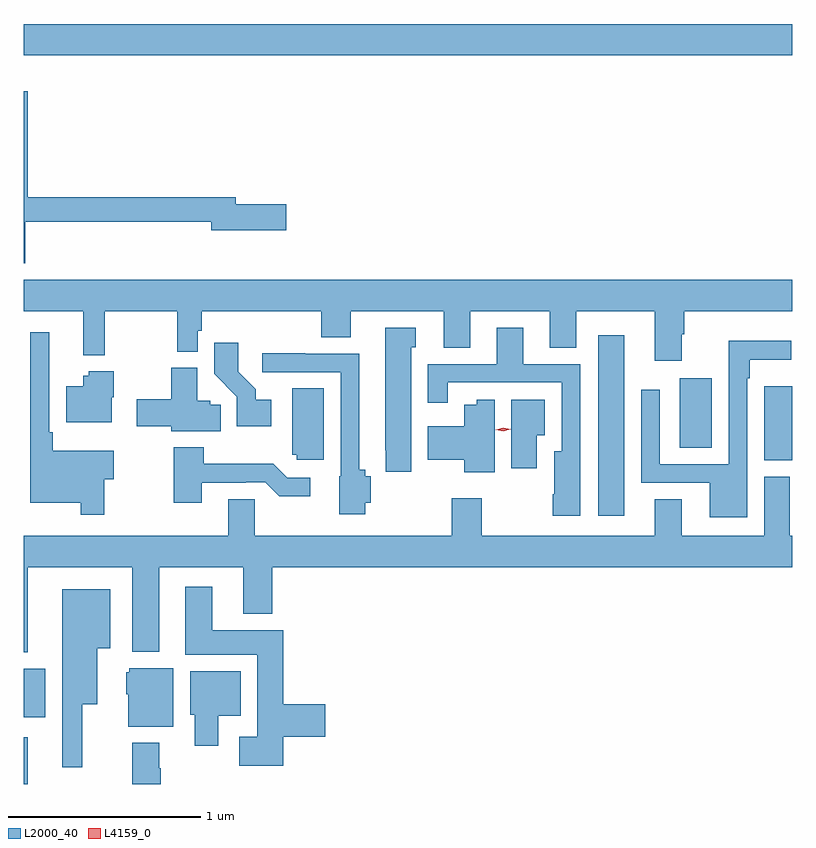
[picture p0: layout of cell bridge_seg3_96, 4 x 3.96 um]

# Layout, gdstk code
import gdstk
lib = gdstk.Library(unit=1e-6, precision=1e-09)
def R(c, l, rs):  # rectangles x0, y0, x1, y1
    for r in rs: c.add(gdstk.rectangle(r[:2], r[2:], *l))
def P(c, l, *ps):  # polygons
    for p in ps: c.add(gdstk.Polygon(p, *l))
L2000_40 = (2000, 40)
L4159_0 = (4159, 0)

bridge_seg3_96 = lib.new_cell('bridge_seg3_96')
R(bridge_seg3_96, L2000_40, [(494.482,734.418,494.503,734.662), (494.482,734.765,494.593,735.019), (497.474,735.816,497.608,736.756), (498.338,736.103,498.482,736.489), (497.897,736.168,498.064,736.531), (494.482,738.212,498.482,738.376)])
P(bridge_seg3_96, L2000_40, [(494.488,737.346),(495.458,737.346),(495.458,737.303),(495.847,737.303),(495.847,737.438),(495.586,737.438),(495.586,737.474),(494.501,737.474),(494.501,738.026),(494.482,738.026),(494.482,737.13),(494.488,737.13)],
  [(497.908,736.76),(497.921,736.76),(497.921,736.88),(498.482,736.88),(498.482,737.044),(494.482,737.044),(494.482,736.88),(494.792,736.88),(494.792,736.652),(494.902,736.652),(494.902,736.88),(495.279,736.88),(495.279,736.67),(495.387,736.67),(495.387,736.779),(495.407,736.779),(495.407,736.88),(496.031,736.88),(496.031,736.744),(496.183,736.744),(496.183,736.88),(496.667,736.88),(496.667,736.69),(496.807,736.69),(496.807,736.88),(497.219,736.88),(497.219,736.69),(497.359,736.69),(497.359,736.88),(497.768,736.88),(497.768,736.623),(497.908,736.623)],
  [(496.498,736.692),(496.522,736.692),(496.522,736.795),(496.364,736.795),(496.364,736.156),(496.365,736.156),(496.365,736.044),(496.498,736.044)],
  [(497.38,736.046),(497.379,736.046),(497.379,736.605),(497.083,736.605),(497.083,736.795),(496.943,736.795),(496.943,736.605),(496.586,736.605),(496.586,736.404),(496.69,736.404),(496.69,736.509),(497.283,736.509),(497.283,736.15),(497.243,736.15),(497.243,735.928),(497.236,735.928),(497.236,735.816),(497.38,735.816)],
  [(494.899,736.006),(494.95,736.006),(494.95,736.153),(494.633,736.153),(494.633,736.249),(494.613,736.249),(494.613,736.771),(494.516,736.771),(494.516,735.884),(494.778,735.884),(494.778,735.819),(494.899,735.819)],
  [(498.249,736.532),(498.262,736.532),(498.262,736.628),(498.478,736.628),(498.478,736.726),(498.153,736.726),(498.153,736.083),(497.793,736.083),(497.793,736.471),(497.697,736.471),(497.697,735.987),(498.053,735.987),(498.053,735.806),(498.249,735.806)],
  [(495.769,736.42),(495.688,736.42),(495.688,736.475),(495.598,736.565),(495.598,736.717),(495.472,736.717),(495.472,736.554),(495.591,736.435),(495.591,736.28),(495.769,736.28)],
  [(496.26,735.884),(496.288,735.884),(496.288,736.02),(496.26,736.02),(496.26,736.055),(496.228,736.055),(496.228,736.659),(495.947,736.659),(495.947,736.662),(495.723,736.662),(495.723,736.563),(496.131,736.563),(496.131,736.02),(496.124,736.02),(496.124,735.824),(496.26,735.824)],
  [(495.506,736.394),(495.453,736.394),(495.453,736.413),(495.385,736.413),(495.385,736.585),(495.248,736.585),(495.248,736.422),(495.069,736.422),(495.069,736.28),(495.248,736.28),(495.248,736.256),(495.506,736.256)],
  [(494.938,736.431),(494.95,736.431),(494.95,736.567),(494.82,736.567),(494.82,736.545),(494.792,736.545),(494.792,736.489),(494.702,736.489),(494.702,736.301),(494.938,736.301)],
  [(496.042,736.478),(495.878,736.478),(495.878,736.134),(495.903,736.134),(495.903,736.107),(496.042,736.107)],
  [(497.152,736.235),(497.194,736.235),(497.194,736.42),(497.021,736.42),(497.021,736.062),(497.152,736.062)],
  [(496.933,736.42),(496.839,736.42),(496.839,736.393),(496.775,736.393),(496.775,736.282),(496.586,736.282),(496.586,736.106),(496.775,736.106),(496.775,736.041),(496.933,736.041)],
  [(495.409,735.987),(495.638,735.987),(495.638,735.99),(495.738,735.99),(495.811,735.917),(495.973,735.917),(495.973,736.014),(495.852,736.014),(495.779,736.087),(495.417,736.087),(495.417,736.171),(495.262,736.171),(495.262,735.882),(495.409,735.882)],
  [(494.503,735.548),(495.047,735.548),(495.047,735.107),(495.187,735.107),(495.187,735.548),(495.623,735.548),(495.623,735.305),(495.776,735.305),(495.776,735.548),(498.482,735.548),(498.482,735.712),(498.469,735.712),(498.469,736.018),(498.338,736.018),(498.338,735.712),(497.908,735.712),(497.908,735.902),(497.768,735.902),(497.768,735.712),(496.866,735.712),(496.866,735.907),(496.711,735.907),(496.711,735.712),(495.684,735.712),(495.684,735.902),(495.545,735.902),(495.545,735.712),(494.482,735.712),(494.482,735.104),(494.503,735.104)],
  [(495.833,734.663),(496.051,734.663),(496.051,734.834),(495.833,734.834),(495.833,735.22),(495.463,735.22),(495.463,735.445),(495.323,735.445),(495.323,735.092),(495.698,735.092),(495.698,734.665),(495.603,734.665),(495.603,734.513),(495.833,734.513)],
  [(494.785,734.834),(494.863,734.834),(494.863,735.125),(494.932,735.125),(494.932,735.433),(494.681,735.433),(494.681,734.505),(494.785,734.505)],
  [(495.259,735.022),(495.03,735.022),(495.03,735),(495.014,735),(495.014,734.886),(495.026,734.886),(495.026,734.717),(495.259,734.717)],
  [(495.493,734.774),(495.61,734.774),(495.61,735.004),(495.347,735.004),(495.347,734.778),(495.371,734.778),(495.371,734.616),(495.493,734.616)],
  [(495.195,734.501),(495.187,734.501),(495.187,734.632),(495.047,734.632),(495.047,734.418),(495.195,734.418)])
P(bridge_seg3_96, L4159_0, [(496.978,736.254),(496.938,736.263),(496.938,736.264),(496.938,736.264),(496.978,736.274),(497.018,736.265),(497.018,736.265),(497.018,736.265)])

lib.write_gds('bridge_seg3_96.gds')
